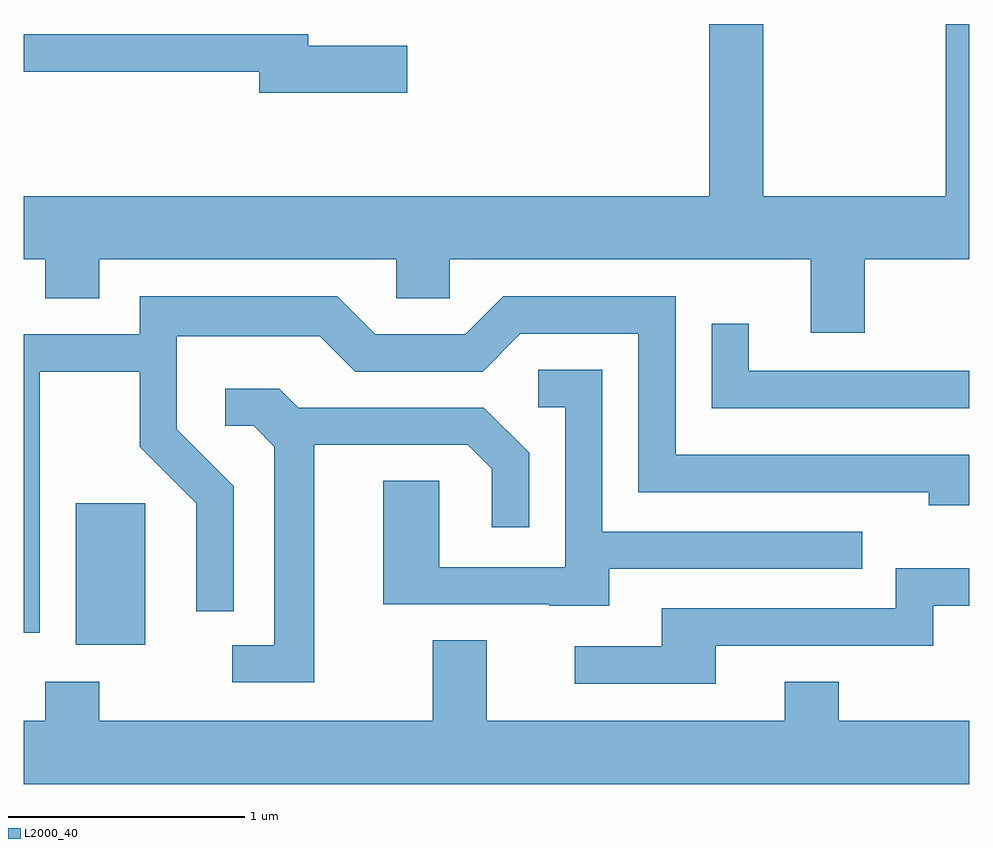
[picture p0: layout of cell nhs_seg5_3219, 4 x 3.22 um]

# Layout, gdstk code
import gdstk
lib = gdstk.Library(unit=1e-6, precision=1e-09)
def R(c, l, rs):  # rectangles x0, y0, x1, y1
    for r in rs: c.add(gdstk.rectangle(r[:2], r[2:], *l))
def P(c, l, *ps):  # polygons
    for p in ps: c.add(gdstk.Polygon(p, *l))
L2000_40 = (2000, 40)

nhs_seg5_3219 = lib.new_cell('nhs_seg5_3219')
R(nhs_seg5_3219, L2000_40, [(281.831,1397.446,282.124,1398.044)])
P(nhs_seg5_3219, L2000_40, [(285.169,1399.076),(285.611,1399.076),(285.611,1400.072),(285.511,1400.072),(285.511,1399.344),(284.739,1399.344),(284.739,1400.072),(284.511,1400.072),(284.511,1399.344),(281.611,1399.344),(281.611,1399.076),(281.701,1399.076),(281.701,1398.911),(281.929,1398.911),(281.929,1399.076),(283.186,1399.076),(283.186,1398.911),(283.414,1398.911),(283.414,1399.076),(284.941,1399.076),(284.941,1398.766),(285.169,1398.766)],
  [(283.234,1399.979),(282.814,1399.979),(282.814,1400.029),(281.611,1400.029),(281.611,1399.871),(282.606,1399.871),(282.606,1399.781),(283.234,1399.781)],
  [(281.679,1398.601),(282.101,1398.601),(282.101,1398.284),(282.341,1398.044),(282.341,1397.588),(282.499,1397.588),(282.499,1398.117),(282.259,1398.357),(282.259,1398.751),(282.864,1398.751),(283.014,1398.601),(283.552,1398.601),(283.712,1398.761),(284.211,1398.761),(284.211,1398.091),(285.441,1398.091),(285.441,1398.036),(285.611,1398.036),(285.611,1398.249),(284.369,1398.249),(284.369,1398.919),(283.639,1398.919),(283.479,1398.759),(283.097,1398.759),(282.937,1398.919),(282.101,1398.919),(282.101,1398.759),(281.611,1398.759),(281.611,1397.496),(281.679,1397.496)],
  [(285.611,1398.604),(284.679,1398.604),(284.679,1398.803),(284.521,1398.803),(284.521,1398.446),(285.611,1398.446)],
  [(284.089,1397.766),(285.158,1397.766),(285.158,1397.924),(284.059,1397.924),(284.059,1398.609),(283.788,1398.609),(283.788,1398.451),(283.901,1398.451),(283.901,1397.774),(283.369,1397.774),(283.369,1398.139),(283.131,1398.139),(283.131,1397.616),(283.835,1397.616),(283.835,1397.611),(284.089,1397.611)],
  [(282.839,1398.291),(283.489,1398.291),(283.591,1398.189),(283.591,1397.943),(283.749,1397.943),(283.749,1398.257),(283.557,1398.449),(282.772,1398.449),(282.692,1398.529),(282.463,1398.529),(282.463,1398.371),(282.584,1398.371),(282.671,1398.284),(282.671,1397.444),(282.493,1397.444),(282.493,1397.286),(282.839,1397.286)],
  [(284.539,1397.441),(285.459,1397.441),(285.459,1397.611),(285.611,1397.611),(285.611,1397.769),(285.301,1397.769),(285.301,1397.599),(284.311,1397.599),(284.311,1397.439),(283.943,1397.439),(283.943,1397.281),(284.539,1397.281)],
  [(285.611,1397.124),(285.059,1397.124),(285.059,1397.289),(284.831,1397.289),(284.831,1397.124),(283.569,1397.124),(283.569,1397.464),(283.341,1397.464),(283.341,1397.124),(281.929,1397.124),(281.929,1397.289),(281.701,1397.289),(281.701,1397.124),(281.611,1397.124),(281.611,1396.856),(285.611,1396.856)])

lib.write_gds('nhs_seg5_3219.gds')
